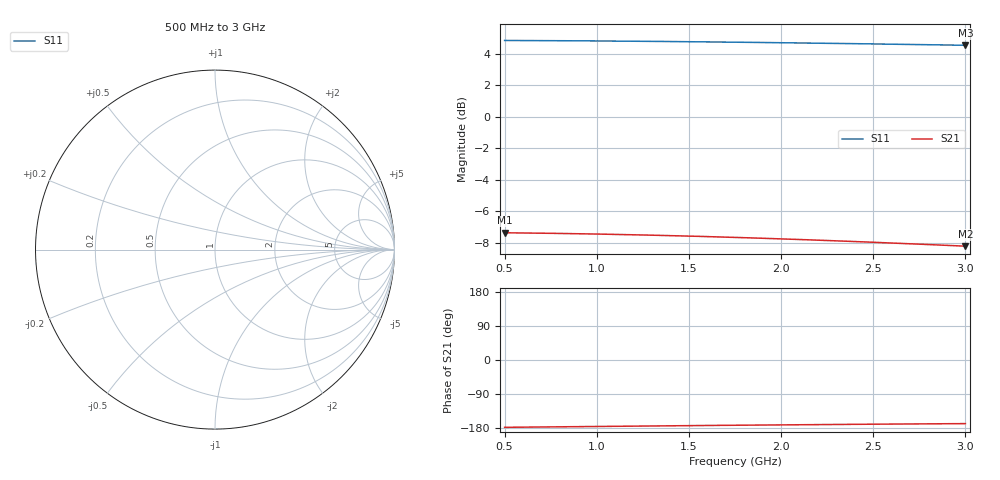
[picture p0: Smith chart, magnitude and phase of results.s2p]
! rfsim (KiCad + openEMS)
# HZ S RI R 50
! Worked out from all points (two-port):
!   251 points, 500 MHz to 3 GHz, reference 50 ohm
!   highest |S21| = -7.37 dB at 500 MHz (marker M1); lowest = -8.2 dB at 3 GHz (marker M2)
!   |S21| within 3 dB of the highest: start of sweep to end of sweep
!   lowest |S11| = 4.6 dB at 3 GHz (marker M3)
!   |S11| at or under -10 dB: nowhere
!   S12 and S22 are empty: the file has one direction only
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5e8  -1.75 -0.0234  -0.4279 -0.0176  0 0  0 0
6e8  -1.749 -0.0279  -0.4271 -0.021  0 0  0 0
7.1e8  -1.748 -0.0329  -0.4262 -0.0248  0 0  0 0
8.1e8  -1.747 -0.0374  -0.4251 -0.0281  0 0  0 0
9.2e8  -1.745 -0.0422  -0.4239 -0.0318  0 0  0 0
1.02e9  -1.743 -0.0465  -0.4226 -0.035  0 0  0 0
1.13e9  -1.741 -0.0512  -0.4211 -0.0385  0 0  0 0
1.23e9  -1.739 -0.0553  -0.4196 -0.0416  0 0  0 0
1.34e9  -1.737 -0.0597  -0.4178 -0.0449  0 0  0 0
1.54e9  -1.732 -0.0675  -0.4142 -0.0507  0 0  0 0
1.75e9  -1.727 -0.0751  -0.4101 -0.0565  0 0  0 0
1.86e9  -1.724 -0.0789  -0.4078 -0.0593  0 0  0 0
1.96e9  -1.721 -0.0822  -0.4056 -0.0618  0 0  0 0
2.07e9  -1.718 -0.0857  -0.4031 -0.0644  0 0  0 0
2.17e9  -1.715 -0.0888  -0.4008 -0.0667  0 0  0 0
2.28e9  -1.711 -0.0919  -0.3982 -0.0691  0 0  0 0
2.38e9  -1.708 -0.0947  -0.3957 -0.0711  0 0  0 0
2.49e9  -1.704 -0.0976  -0.3929 -0.0733  0 0  0 0
2.59e9  -1.701 -0.1001  -0.3904 -0.0751  0 0  0 0
2.79e9  -1.694 -0.1046  -0.3852 -0.0785  0 0  0 0
2.89e9  -1.69 -0.1067  -0.3825 -0.0801  0 0  0 0
3e9  -1.687 -0.1088  -0.3795 -0.0816  0 0  0 0
